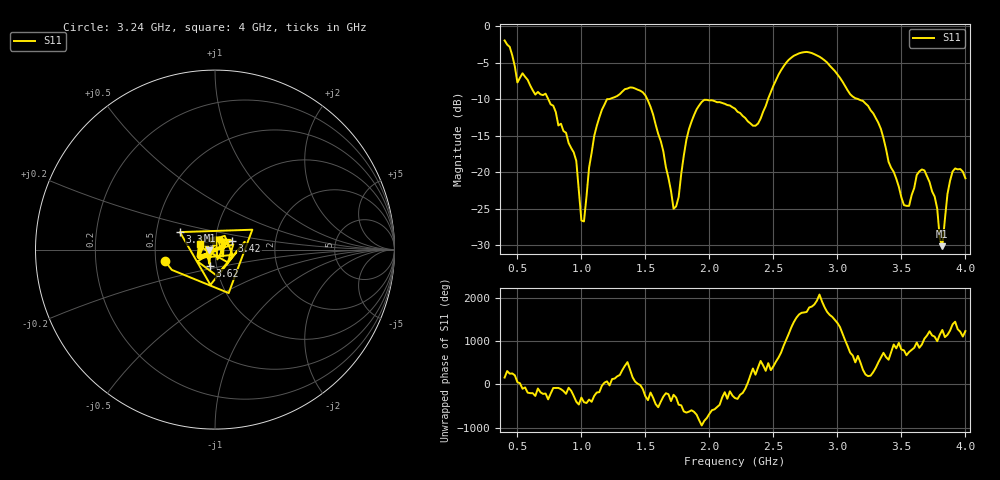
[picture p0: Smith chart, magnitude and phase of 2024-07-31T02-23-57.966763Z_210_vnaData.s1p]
!Created with skrf (http://scikit-rf.org).
# Hz S RI R 50.0
!freq ReS11 ImS11
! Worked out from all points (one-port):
!   181 points, 400 MHz to 4 GHz, reference 50 ohm
!   lowest |S11| = -30.1 dB at 3.82 GHz (marker M1), VSWR 1.06, Z = 47 - j0.281 ohm
!   |S11| at or under -10 dB: 742 MHz to 1.199 GHz (457.3 MHz wide, 47.1 % of centre); 1.515 GHz to 2.457 GHz (942.1 MHz wide, 47.4 % of centre); 3.167 GHz to end of sweep
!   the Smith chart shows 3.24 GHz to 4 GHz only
!   S11 on the Smith chart (normalised r, x): 3.24 GHz: 0.56, -0.08; 3.32 GHz: 0.66, +0.14; 3.42 GHz: 1.20, +0.12; 3.62 GHz: 0.93, -0.17; 4 GHz: 0.84, +0.06
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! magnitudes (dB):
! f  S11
! 400 MHz  -1.9
! 500 MHz  -7.7
! 720 MHz  -9.2
! 860 MHz  -14.3
! 960 MHz  -18.4
! 1 GHz  -26.6
! 1.02 GHz  -26.7
! 1.12 GHz  -13.6
! 1.3 GHz  -9.3
! 1.5 GHz  -9.5
! 1.72 GHz  -25.0
! 1.76 GHz  -23.4
! 1.82 GHz  -15.6
! 1.9 GHz  -11.4
! 2.2 GHz  -11.3
! 2.38 GHz  -13.3
! 2.66 GHz  -4.0
! 2.88 GHz  -4.4
! 3.1 GHz  -9.3
! 3.24 GHz  -10.9
! 3.32 GHz  -13.2
! 3.42 GHz  -19.4
! 3.56 GHz  -24.6
! 3.62 GHz  -20.4
! 3.72 GHz  -21.3
! 3.82 GHz  -30.1
! 3.9 GHz  -19.9
! 4 GHz  -20.8
